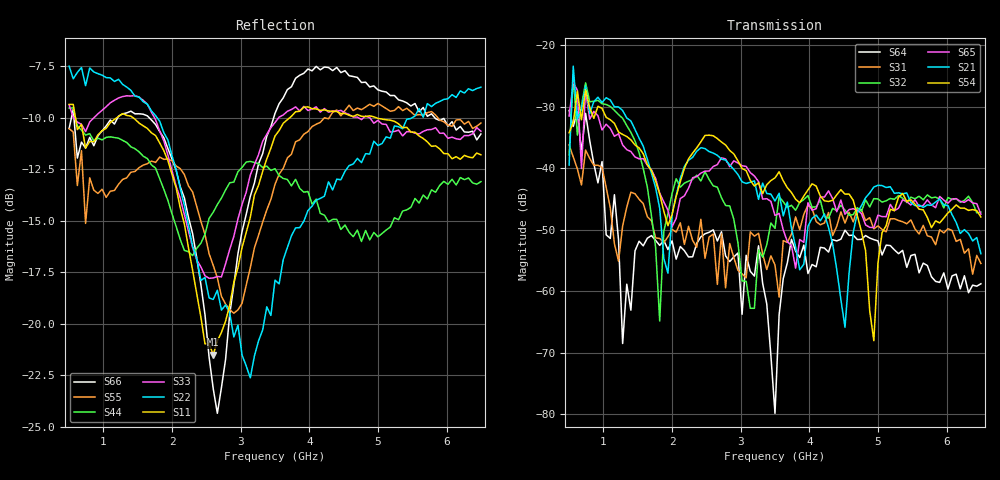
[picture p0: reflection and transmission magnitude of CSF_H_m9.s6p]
!Keysight Technologies,M9804A,MY58100912,A.14.10.03
!Date: Thursday, April 27, 2023 10:28:33
!Correction: S11(C  6-Port  )
!S12(C  6-Port  )
!S13(C  6-Port  )
!S14(C  6-Port  )
!S15(C  6-Port  )
!S16(C  6-Port  )
!S21(C  6-Port  )
!S22(C  6-Port  )
!S23(C  6-Port  )
!S24(C  6-Port  )
!S25(C  6-Port  )
!S26(C  6-Port  )
!S31(C  6-Port  )
!S32(C  6-Port  )
!S33(C  6-Port  )
!S34(C  6-Port  )
!S35(C  6-Port  )
!S36(C  6-Port  )
!S41(C  6-Port  )
!S42(C  6-Port  )
!S43(C  6-Port  )
!S44(C  6-Port  )
!S45(C  6-Port  )
!S46(C  6-Port  )
!S51(C  6-Port  )
!S52(C  6-Port  )
!S53(C  6-Port  )
!S54(C  6-Port  )
!S55(C  6-Port  )
!S56(C  6-Port  )
!S61(C  6-Port  )
!S62(C  6-Port  )
!S63(C  6-Port  )
!S64(C  6-Port  )
!S65(C  6-Port  )
!S66(C  6-Port  )
!S6P File: Measurement: :
# Hz S  RI  R 50
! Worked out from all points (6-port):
!   101 points, 500 MHz to 6.5 GHz, reference 50 ohm
!   strongest paths, dB at 500 MHz, 2 GHz, 3.5 GHz, 5 GHz, 6.5 GHz:
!     S54: -34.2, -47.6, -41.6, -55.5, -47.9
!     S21: -39.5, -47.5, -45.3, -42.8, -53.9
!     S65: -31.5, -49.5, -47.7, -47.6, -47.5
!     S32: -37.9, -44.1, -49.8, -45.0, -47.1
!     S31: -36.2, -50.0, -55.7, -49.4, -55.5
!     S64: -30.6, -51.8, -79.8, -51.8, -58.8
!   lowest |S11| = -21.5 dB at 2.6 GHz (marker M1), VSWR 1.18, Z = 42.5 + j2.13 ohm
!   |S11| at or under -10 dB: 591.9 MHz to 1.194 GHz (601.6 MHz wide, 67.4 % of centre); 1.433 GHz to 3.714 GHz (2.281 GHz wide, 88.7 % of centre); 4.978 GHz to end of sweep
